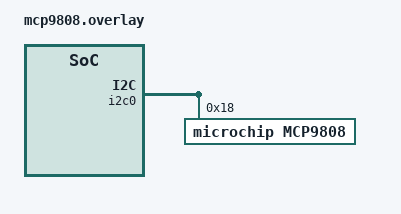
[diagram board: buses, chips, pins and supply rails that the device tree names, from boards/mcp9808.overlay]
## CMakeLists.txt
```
# SPDX-License-Identifier: Apache-2.0
#Setting to exclusively build for the Particle Argon
set(BOARD particle_boron)
set(BOARD_FLASH_RUNNER jlink)
set(CONF_FILE general_config.conf usb_config.conf uart_shell_config.conf)
set(DTC_OVERLAY_FILE dts/spi3.dtsi)

cmake_minimum_required(VERSION 3.20.4)
find_package(Zephyr REQUIRED HINTS $ENV{ZEPHYR_BASE})
project(uqdrifter)

#Add include_directories for libraries, path starts from this files location.
include_directories(inc/
                    lib/saraR4_modem/
                    lib/sam_m8q_gps/
                    lib/sensor_ctrl/
                    lib/mcp3008_adc/
                    lib/sys_pwr/
                    lib/sys_led/
                    lib/jsmn/
                    )

target_sources(app PRIVATE
                        src/main.c
                        lib/mcp3008_adc/mcp3008.c
                        lib/saraR4_modem/sara_r4.c      #LTE-M1 Driver
                        lib/sys_led//dbg_led.c          #Debug Led Thread
                        lib/sam_m8q_gps/sam_m8q.c       #GPS Module  
                        lib/sensor_ctrl/sensor_pwr.c    #Controls the PWR mosFETs for sensor power
                        lib/sensor_ctrl/sensor_ctrl.c   #Sensor HAL (Abstraction driver for controlling sensors)
                        lib/sys_pwr/sys_pwr.c           #Boron Pwr control IC
             )
```

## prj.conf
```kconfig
#------------------------------------------------------------------------------
                            #Enable Pheripherals
#------------------------------------------------------------------------------
#Enable GPIO drivers.
CONFIG_GPIO=y
#Enable options for serial drivers.
CONFIG_SERIAL=y
#Enable ADC
CONFIG_ADC=y

#Enable I2C
CONFIG_I2C=y

#Unable UART Interrupts
CONFIG_UART_INTERRUPT_DRIVEN=y

#MATH
CONFIG_NEWLIB_LIBC=y

#Ringbuffer - SaraR4 Modem
CONFIG_RING_BUFFER=y
```

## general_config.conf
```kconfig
#------------------------------------------------------------------------------
                            #Enable Pheripherals
#------------------------------------------------------------------------------
#Enable GPIO drivers.
CONFIG_GPIO=y
#Enable options for serial drivers.
CONFIG_SERIAL=y

#Enable ADC
#CONFIG_ADC=y
#Enable I2C
#CONFIG_I2C=y

#Enable SPI
CONFIG_SPI=y
#Unable UART Interrupts
CONFIG_UART_INTERRUPT_DRIVEN=y
#RingBuffer Support
CONFIG_RING_BUFFER=y
#MATH
CONFIG_NEWLIB_LIBC=y
#Polling API
CONFIG_POLL=y
```

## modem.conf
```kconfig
#------------------------------------------------------------------------------
                            #Enable options for serial drivers.
#-----------------------------------------------------------------------------
CONFIG_SERIAL=y
CONFIG_UART_LINE_CTRL=y
CONFIG_UART_DRV_CMD=y
#------------------------------------------------------------------------------
                            #Enable config options for modem drivers.
#-----------------------------------------------------------------------------

#ENABLE THIS WHEN U GET A SIM CARD MY G
CONFIG_MODEM=y
CONFIG_MODEM_SHELL=y
#CONFIG_MODEM_UBLOX_SARA_AUTODETECT_APN=y
CONFIG_MODEM_UBLOX_SARA_R4_APN="telstra.internet" 
CONFIG_MODEM_UBLOX_SARA_R4_MANUAL_MCCMNO="50501" 
CONFIG_MODEM_UBLOX_SARA=y
CONFIG_MODEM_UBLOX_SARA_R4=y

CONFIG_MODEM_LOG_LEVEL_DBG=y
CONFIG_MODEM_CONTEXT_VERBOSE_DEBUG=y
CONFIG_MODEM_RECEIVER=y
#------------------------------------------------------------------------------
                            #Config Networking
#-----------------------------------------------------------------------------
CONFIG_NETWORKING=y
CONFIG_NET_NATIVE=n
CONFIG_NET_IPV4=y
CONFIG_NET_IPV6=n
CONFIG_NET_SOCKETS=y
CONFIG_NET_SOCKETS_OFFLOAD=y

#MISC MISC MISC MISC
CONFIG_LOG=y

#CONFIG_NET_IPV6=n 
#CONFIG_NET_CONFIG_NEED_IPV6=n 
#CONFIG_MODEM_UBLOX_SARA_R4_APN="vfinternet.au"
#CONFIG_MODEM_UBLOX_SARA_R4_MANUAL_MCCMNO="50503"
```

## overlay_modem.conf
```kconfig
#------------------------------------------------------------------------------
                            #Enable options for serial drivers.

#-----------------------------------------------------------------------------
CONFIG_SERIAL=y
CONFIG_UART_LINE_CTRL=y
CONFIG_UART_DRV_CMD=y

#------------------------------------------------------------------------------
                            #Enable config options for modem drivers.

#-----------------------------------------------------------------------------

#ENABLE THIS WHEN U GET A SIM CARD MY G
# CONFIG_MODEM=y
# CONFIG_MODEM_UBLOX_SARA_R4=y
# CONFIG_MODEM_UBLOX_SARA_R4_RX_STACK_SIZE=2048
# CONFIG_MODEM_UBLOX_SARA_R4_RX_WORKQ_STACK_SIZE=4096
# CONFIG_MODEM_UBLOX_SARA_AUTODETECT_APN=y
# CONFIG_MODEM_CONTEXT_VERBOSE_DEBUG=y
# CONFIG_MODEM_LOG_LEVEL_DBG=y


#------------------------------------------------------------------------------
                            #Config Networking

#-----------------------------------------------------------------------------
CONFIG_NETWORKING=y
CONFIG_NET_SOCKETS=y


CONFIG_NET_IPV6=n
CONFIG_NET_CONFIG_NEED_IPV6=n

CONFIG_NET_IPV4=y
CONFIG_NET_TCP=y
CONFIG_NET_UDP=y
```

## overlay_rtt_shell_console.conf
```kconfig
#------------------------------------------------------------------------------
                                #$hell Config

#------------------------------------------------------------------------------
CONFIG_SHELL=y
CONFIG_SHELL_STACK_SIZE=4096
CONFIG_SHELL_BACKENDS=y
CONFIG_SHELL_BACKEND_RTT=y
CONFIG_USE_SEGGER_RTT=y

CONFIG_LOG=y
CONFIG_BOOT_BANNER=y
#------------------------------------------------------------------------------
                                #Console RTT Config

#------------------------------------------------------------------------------
#CONFIG_STDOUT_CONSOLE=y
#CONFIG_UART_RTT=y
#CONFIG_RTT_CONSOLE=y

CONFIG_SHELL_BACKEND_SERIAL=n
CONFIG_UART_CONSOLE=n
#------------------------------------------------------------------------------
                                #Enable Logging API
#Loggins Backend
CONFIG_LOG=y
#------------------------------------------------------------------------------
```

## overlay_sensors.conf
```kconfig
#------------------------------------------------------------------------------
                            #Adding Sensor API

#-----------------------------------------------------------------------------
# CONFIG_SENSOR=y
# CONFIG_SENSOR_SHELL=y
# CONFIG_SENSOR_SHELL_BATTERY=y

# CONFIG_MCP9808=y
# CONFIG_MCP9808_TRIGGER_OWN_THREAD=y
# CONFIG_I2C=y
```

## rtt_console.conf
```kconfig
                                #Console RTT Console
#------------------------------------------------------------------------------
CONFIG_PRINTK=y
CONFIG_CBPRINTF_FP_SUPPORT=y

CONFIG_USE_SEGGER_RTT=y
CONFIG_SHELL_BACKEND_SERIAL=n
CONFIG_UART_CONSOLE=n
CONFIG_LOG=y
CONFIG_RTT_CONSOLE=y
CONFIG_RING_BUFFER=y
```

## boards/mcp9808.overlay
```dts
&i2c0 {
	mcp9808@18 {
		compatible = "microchip,mcp9808";
		reg = <0x18>;
		label = "MCP9808";
	};
};
```

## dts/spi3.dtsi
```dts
/*
 * Copyright (c) 2018 Peter Bigot Consulting, LLC
 *
 * SPDX-License-Identifier: Apache-2.0
 */

/* Add SPI support on Particle Mesh via nRF52840 SPI3
 *
 * NOTE: This file is replicated in particle_{argon,boron,xenon}.
 * Changes should be made in all instances. */

feather_spi: &spi3 {/* feather SPI */
	compatible = "nordic,nrf-spim";
	status = "okay";
	sck-pin = <47>;
	mosi-pin = <45>;
	miso-pin = <46>;
	cs-gpios = <&gpio0 31 GPIO_ACTIVE_LOW>;
};
```

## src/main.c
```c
/**
 ************************************************************************
 * @file sara_r4.c
 * @author Wilfred MK
 * @date 13.05.2021 (Last Updated)
 * @brief Entry thread, instantiates auxilliary modules.
 **********************************************************************
 **/

#include <zephyr.h>
#include <device.h>
#include <devicetree.h>
#include <drivers/gpio.h>
#include <drivers/sensor.h>
#include <logging/log.h>
#include <usb/usb_device.h>
#include <drivers/uart.h>

#include "dbg_led.h"
#include "sara_r4.h"
#include "sam_m8q.h"
//Todo Remove Later, main thread does not need to communicate with sensors.
#include "sys_pwr.h"
#include "sensor_ctrl.h"
#include "sensor_pwr.h"
#include "mcp3008.h"

/*
 * This delay essentially controls how often the device will wake from sleep and get reading and publish these readings 
 * to the server. The higher the delay, the lower the current draw (interm of battery relaxation).
 * 
 * Should keep it atleast > 15 seconds, as thingspeak server has a bandwidth limit capped at every 15 seconds (max update rate)
 * 
 * The delay should only be updated by the network driver upon a succesful poll to thingspeak to get user set profiles. 
 */
int SYS_ACTIVE_DELAY_SEC = 30;

LOG_MODULE_REGISTER(device_ctrl_main, LOG_LEVEL_DBG);

K_MSGQ_DEFINE(to_network_msgq, sizeof(struct sensor_packet), 10, 4);

/* Aux Threads */
K_THREAD_STACK_DEFINE(led_thread_stack, STACK_SIZE_LED_THREAD);
struct k_thread led_thread_d;

/* Network Threads - Modem */
K_THREAD_STACK_DEFINE(modem_ctrl_stack, STACK_SIZE_MODEM_THREAD);
K_THREAD_STACK_DEFINE(modem_recv_stack, STACK_SIZE_MODEM_THREAD);

struct k_thread modem_ctrl_d, modem_recv_d;

/* Sensor Control Thread */
K_THREAD_STACK_DEFINE(sensor_ctrl_stack, STACK_SIZE_SENSOR_CTRL);
struct k_thread sensor_ctrl_d;

/* GPS Communications Thread */
K_THREAD_STACK_DEFINE(gps_ctrl_stack, STACK_SIZE_GPS_THREAD);
struct k_thread gps_ctrl_d;

/* MCP3008 ADC */
K_THREAD_STACK_DEFINE(adc_ctrl_stack, STACK_SIZE_GPS_THREAD);
struct k_thread adc_ctrl_d;

/* Thread IDS */
k_tid_t led_tid, modem_ctrl_tid, modem_recv_tid, sensor_ctrl_tid, gps_ctrl_tid, adc_ctrl_tid;

/**
 * @brief Creates system threads.
 * 
 */
void spawn_threads(void)
{
    /* Spawn System threads */
    led_tid = k_thread_create(&led_thread_d, led_thread_stack, K_THREAD_STACK_SIZEOF(led_thread_stack),
                              thread_flash_debug_led,
                              NULL, NULL, NULL,
                              THREAD_PRIORITY_LED_THREAD, 0, K_NO_WAIT);

    modem_ctrl_tid = k_thread_create(&modem_ctrl_d, modem_ctrl_stack, K_THREAD_STACK_SIZEOF(modem_ctrl_stack),
                                     thread_modem_ctrl,
                                     NULL, NULL, NULL,
                                     THREAD_PRIORITY_MODEM, 0, K_NO_WAIT);

    modem_recv_tid = k_thread_create(&modem_recv_d, modem_recv_stack, K_THREAD_STACK_SIZEOF(modem_recv_stack),
                                     thread_modem_receive,
                                     NULL, NULL, NULL,
                                     THREAD_PRIORITY_MODEM, 0, K_NO_WAIT);

    sensor_ctrl_tid = k_thread_create(&sensor_ctrl_d, sensor_ctrl_stack, K_THREAD_STACK_SIZEOF(sensor_ctrl_stack),
                                      thread_sensor_control,
                                      NULL, NULL, NULL,
                                      PRIORITY_SENSOR_CTRL, 0, K_NO_WAIT);

    gps_ctrl_tid = k_thread_create(&gps_ctrl_d, gps_ctrl_stack, K_THREAD_STACK_SIZEOF(gps_ctrl_stack),
                                   thread_gps_ctrl,
                                   NULL, NULL, NULL,
                                   THREAD_PRIORITY_GPS, 0, K_NO_WAIT);

    adc_ctrl_tid = k_thread_create(&adc_ctrl_d, adc_ctrl_stack, K_THREAD_STACK_SIZEOF(adc_ctrl_stack),
                                   thread_adc_ctrl,
                                   NULL, NULL, NULL,
                                   THREAD_PRIORITY_ADC, 0, K_NO_WAIT);
}

/**
 * @brief Entry thread to start the USB driver which the Shell 
 *          instance is dependant on. 
 * 
 *        Main thread to control the sensors and the networking,
 */
void main(void)
{
    int sysPwrErr;
pmic_pwr_setup:

    sysPwrErr = sys_pwr_init();

    if (sysPwrErr != OK)
    {
        k_sleep(K_SECONDS(1));
        goto pmic_pwr_setup;
    }

    /* Start USB Driver */
    //TODO: Disable for production: and when using battery pack
    usb_enable(NULL);

    /* Start Threads */
    spawn_threads();

    struct sensor_packet sensorDataRec = {0};

    LOG_INF("System Initialized...");
    LOG_INF("Waiting for Network...");
    while (1)
    {
        /* 1. Wait for network to be ready, should be always ready, unless error handling */
        k_sem_take(&networkReady, K_FOREVER);

        /* 2. Get Sensor Reading */
        k_sem_give(&sensor_active_sem);
        k_msgq_get(&sensor_msgq, &sensorDataRec, K_FOREVER);

        printk("Sensors: %d NTUs, TSD-Voltage: %f mV, Lon: %f Lat: %f", sensorDataRec.turbidity, sensorDataRec.tsdmV, sensorDataRec.longitude, sensorDataRec.lattitude);

        /* 3. Send Data to Network Driver */
        if (k_msgq_put(&to_network_msgq, &sensorDataRec, K_NO_WAIT) != 0)
        {
            k_msgq_purge(&to_network_msgq); //Make Space
        }

        /* 3. Sleep Device */
        //TODO Sleep Sara R4, Sleep GPS (Should do this in the sensor driver after reading is done)

        //Clear current data, queue is pass by copy not reference
        memset(&sensorDataRec, 0, sizeof sensorDataRec);

        LOG_DBG("Control thread sleeping...");
        k_sleep(K_SECONDS(SYS_ACTIVE_DELAY_SEC));
    }
}
```

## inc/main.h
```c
/**
 ************************************************************************
 * @file main.h
 * @author Wilfred MK
 * @date 13.05.2021 (Last Updated)
 * @brief Entry thread, instantiates auxilliary modules.
 **********************************************************************
 **/

#ifndef MAIN_H
#define MAIN_H

/* 1000 msec = 1 sec */
#define SLEEP_TIME_MS_FAST 500
#define SLEEP_TIME_MS_SLOW 1000

/* Debug Thread Stack size */
#define STACK_SIZE_LED_THREAD 128

/* Debug Thread Priority */
#define THREAD_PRIORITY_LED_THREAD 10 /* Lower Numerics has higher priority, -Ve Priorities are cooperitive threads, +Ve Priorities  are Preemtible  */

/* The devicetree node identifier for the "led0" alias. */
#define BLUE_LED_NODE DT_ALIAS(led3)
#define RED_LED_NODE DT_ALIAS(led1)

#define BLUE_LED DT_GPIO_LABEL(BLUE_LED_NODE, gpios)
#define RED_LED DT_GPIO_LABEL(RED_LED_NODE, gpios)

#define BLUE_PIN DT_GPIO_PIN(BLUE_LED_NODE, gpios)
#define RED_PIN DT_GPIO_PIN(RED_LED_NODE, gpios)

#define BLUE_LED_FLAGS DT_GPIO_FLAGS(BLUE_LED_NODE, gpios)
#define RED_LED_FLAGS DT_GPIO_FLAGS(RED_LED_NODE, gpios)
// Thread to flash a debug LED
void thread_flash_debug_led(void);

#endif
```
